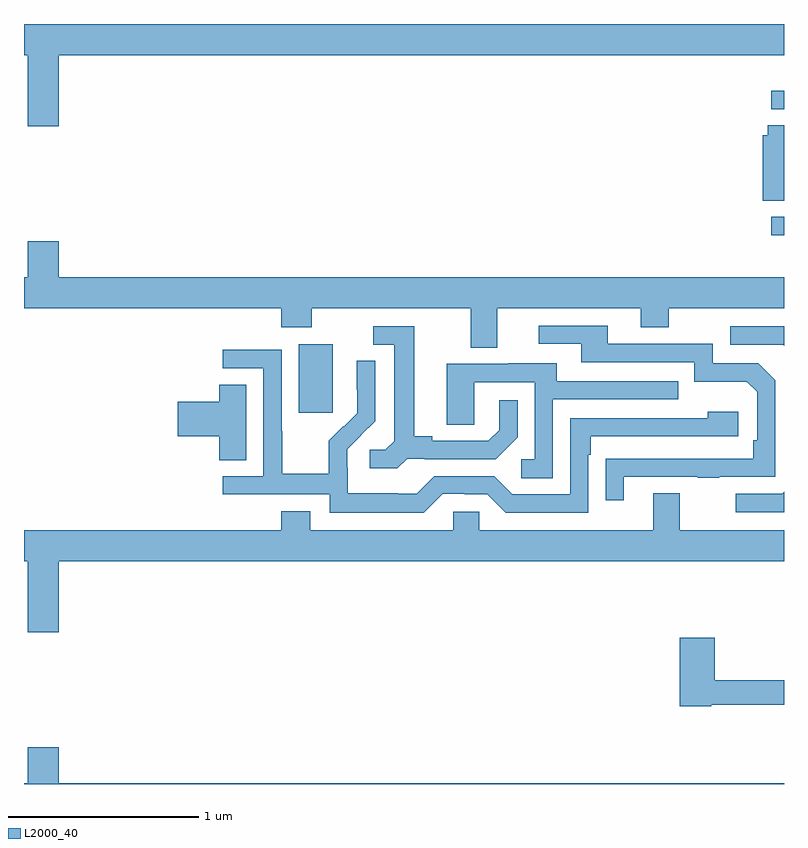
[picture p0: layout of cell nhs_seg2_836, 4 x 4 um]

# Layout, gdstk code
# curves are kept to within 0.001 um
import gdstk
lib = gdstk.Library(unit=1e-6, precision=1e-09)
def R(c, l, rs):  # rectangles x0, y0, x1, y1
    for r in rs: c.add(gdstk.rectangle(r[:2], r[2:], *l))
def P(c, l, *ps):  # polygons
    for p in ps: c.add(gdstk.Polygon(p, *l))
L2000_40 = (2000, 40)

nhs_seg2_836 = lib.new_cell('nhs_seg2_836')
R(nhs_seg2_836, L2000_40, [(154.445,645.753,154.624,646.114), (156.933,646.687,157,646.785), (156.933,647.352,157,647.448)])
P(nhs_seg2_836, L2000_40, [(153.184,647.636),(157,647.636),(157,647.8),(153,647.8),(153,647.636),(153.02,647.636),(153.02,647.262),(153.184,647.262)],
  [(157,647.267),(156.914,647.267),(156.914,647.214),(156.887,647.214),(156.887,646.87),(157,646.87)],
  [(153.184,646.657),(153.02,646.657),(153.02,646.468),(153,646.468),(153,646.304),(154.355,646.304),(154.355,646.205),(154.515,646.205),(154.515,646.304),(155.351,646.304),(155.351,646.096),(155.491,646.096),(155.491,646.304),(156.245,646.304),(156.245,646.205),(156.393,646.205),(156.393,646.304),(157,646.304),(157,646.468),(153.184,646.468)],
  [(156.157,645.417),(156.547,645.417),(156.547,645.412),(156.659,645.412),(156.659,645.417),(156.954,645.417),(156.954,645.924),(156.864,646.014),(156.624,646.014),(156.624,646.116),(156.073,646.116),(156.073,646.212),(155.709,646.212),(155.709,646.116),(155.933,646.116),(155.933,646.02),(156.528,646.02),(156.528,645.917),(156.805,645.917),(156.858,645.864),(156.858,645.61),(156.838,645.61),(156.838,645.513),(156.061,645.512),(156.061,645.294),(156.157,645.294)],
  [(157,646.209),(156.717,646.209),(156.717,646.113),(156.993,646.113),(157,646.106)],
  [(155.016,645.513),(155.11,645.513),(155.11,645.51),(155.482,645.51),(155.598,645.626),(155.598,645.82),(155.501,645.82),(155.501,645.663),(155.444,645.606),(155.149,645.606),(155.149,645.629),(155.053,645.629),(155.053,646.209),(154.839,646.209),(154.839,646.113),(154.949,646.113),(154.949,645.605),(154.902,645.558),(154.821,645.558),(154.821,645.461),(154.964,645.461)],
  [(155.205,645.327),(155.321,645.327),(155.321,645.324),(155.439,645.324),(155.535,645.228),(155.97,645.228),(155.97,645.533),(155.983,645.533),(155.983,645.63),(156.76,645.63),(156.76,645.76),(156.599,645.76),(156.599,645.726),(155.874,645.726),(155.874,645.324),(155.571,645.324),(155.475,645.42),(155.16,645.42),(155.067,645.327),(154.967,645.327),(154.967,645.331),(154.704,645.331),(154.704,645.465),(154.702,645.465),(154.702,645.562),(154.848,645.71),(154.848,646.028),(154.752,646.028),(154.752,645.874),(154.754,645.874),(154.754,645.752),(154.683,645.681),(154.68,645.684),(154.603,645.607),(154.603,645.433),(154.359,645.433),(154.359,645.656),(154.356,645.656),(154.356,646.086),(154.047,646.086),(154.047,645.987),(154.26,645.987),(154.26,645.42),(154.047,645.42),(154.047,645.324),(154.608,645.324),(154.608,645.227),(155.105,645.227)],
  [(155.784,645.825),(156.443,645.825),(156.443,645.921),(155.803,645.921),(155.803,646.015),(155.549,646.015),(155.549,646.011),(155.225,646.011),(155.225,645.691),(155.37,645.691),(155.37,645.915),(155.688,645.915),(155.688,645.51),(155.616,645.51),(155.616,645.409),(155.784,645.409)],
  [(154.171,645.902),(154.028,645.902),(154.028,645.812),(153.81,645.812),(153.81,645.629),(154.028,645.629),(154.028,645.505),(154.171,645.505)],
  [(157,645.337),(156.99,645.327),(156.747,645.327),(156.747,645.231),(157,645.231)],
  [(153.184,644.972),(157,644.972),(157,645.136),(156.451,645.136),(156.451,645.331),(156.311,645.331),(156.311,645.136),(155.397,645.136),(155.397,645.234),(155.259,645.234),(155.259,645.136),(154.507,645.136),(154.507,645.235),(154.355,645.235),(154.355,645.136),(153,645.136),(153,644.972),(153.02,644.972),(153.02,644.598),(153.184,644.598)],
  [(156.618,644.217),(157,644.217),(157,644.345),(156.635,644.345),(156.635,644.569),(156.452,644.569),(156.452,644.209),(156.618,644.209)],
  [(157,643.804),(153.184,643.804),(153.184,643.993),(153.02,643.993),(153.02,643.804),(153,643.804),(153,643.8),(157,643.8)])

lib.write_gds('nhs_seg2_836.gds')
